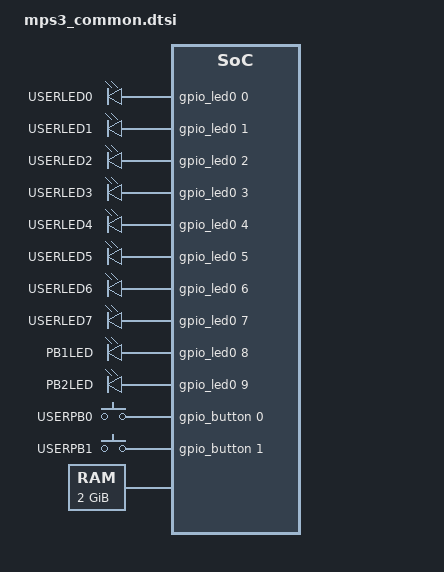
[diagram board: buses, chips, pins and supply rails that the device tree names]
/*
 * Copyright 2024 Arm Limited and/or its affiliates <open-source-office@arm.com>
 *
 * SPDX-License-Identifier: Apache-2.0
 */

/* /dts-v1/; */

#include <arm/armv8.1-m.dtsi>
#include <zephyr/dt-bindings/i2c/i2c.h>
#include <zephyr/dt-bindings/input/input-event-codes.h>
#include <mem.h>

/ {
	aliases {
		led0 = &led_0;
		led1 = &led_1;
		sw0 = &user_button_0;
		sw1 = &user_button_1;
	};

	leds {
		compatible = "gpio-leds";
		led_0: led_0 {
			gpios = <&gpio_led0 0>;
			label = "USERLED0";
		};
		led_1: led_1 {
			gpios = <&gpio_led0 1>;
			label = "USERLED1";
		};
		led_2: led_2 {
			gpios = <&gpio_led0 2>;
			label = "USERLED2";
		};
		led_3: led_3 {
			gpios = <&gpio_led0 3>;
			label = "USERLED3";
		};
		led_4: led_4 {
			gpios = <&gpio_led0 4>;
			label = "USERLED4";
		};
		led_5: led_5 {
			gpios = <&gpio_led0 5>;
			label = "USERLED5";
		};
		led_6: led_6 {
			gpios = <&gpio_led0 6>;
			label = "USERLED6";
		};
		led_7: led_7 {
			gpios = <&gpio_led0 7>;
			label = "USERLED7";
		};
		led_8: led_8 {
			gpios = <&gpio_led0 8>;
			label = "PB1LED";
		};
		led_9: led_9 {
			gpios = <&gpio_led0 9>;
			label = "PB2LED";
		};
	};

	gpio_keys {
		compatible = "gpio-keys";
		user_button_0: button_0 {
			label = "USERPB0";
			gpios = <&gpio_button 0>;
			zephyr,code = <INPUT_KEY_0>;
		};
		user_button_1: button_1 {
			label = "USERPB1";
			gpios = <&gpio_button 1>;
			zephyr,code = <INPUT_KEY_1>;
		};
	};

	/* DDR4 - 2G, alternates non-secure/secure every 256M */
	ddr4: memory@60000000 {
		device_type = "memory";
		compatible = "zephyr,memory-region";
		reg = <0x60000000 DT_SIZE_M(256)
		       0x70000000 DT_SIZE_M(256)
		       0x80000000 DT_SIZE_M(256)
		       0x90000000 DT_SIZE_M(256)
		       0xa0000000 DT_SIZE_M(256)
		       0xb0000000 DT_SIZE_M(256)
		       0xc0000000 DT_SIZE_M(256)
		       0xd0000000 DT_SIZE_M(256)>;
		zephyr,memory-region = "DDR4";
	};
};

&nvic {
	arm,num-irq-priority-bits = <3>;
};
